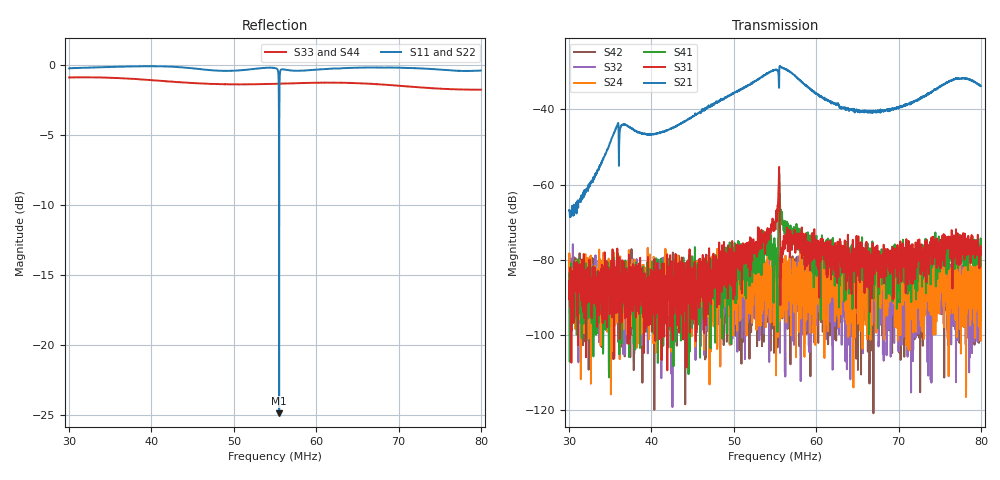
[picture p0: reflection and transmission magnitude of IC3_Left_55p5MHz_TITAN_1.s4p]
#  HZ  S  DB  R  50.00
! Rohde & Schwarz Vector Network Analyzer
! Rohde-Schwarz,ZNB8-4Port,1311601044102961,2.82
! Created: UTC 2/8/2019, 4:11:41 PM
! freq[Hz]  db:S11  ang:S11  db:S12  ang:S12  db:S13  ang:S13  db:S14  ang:S14
!  db:S21  ang:S21  db:S22  ang:S22  db:S23  ang:S23  db:S24  ang:S24
!  db:S31  ang:S31  db:S32  ang:S32  db:S33  ang:S33  db:S34  ang:S34
!  db:S41  ang:S41  db:S42  ang:S42  db:S43  ang:S43  db:S44  ang:S44
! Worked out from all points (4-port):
!   2001 points, 30 MHz to 80 MHz, reference 50 ohm
!   strongest paths, dB at 30 MHz, 42.5 MHz, 55 MHz, 67.5 MHz, 80 MHz:
!     S21: -66.8, -45.0, -29.5, -40.2, -33.8
!     S31: -90.5, -88.0, -70.7, -78.2, -76.3
!     S41: -83.6, -90.7, -80.3, -98.2, -81.5
!     S24: -86.0, -86.6, -85.5, -88.1, -82.1
!     S32: -85.2, -90.1, -82.9, -90.7, -85.7
!     S42: -85.2, -91.8, -87.7, -85.4, -88.8
!   lowest |S11| = -24.9 dB at 55.5 MHz (marker M1), VSWR 1.12, Z = 46.7 + j4.37 ohm
!   |S11| at or under -10 dB: 55.48252 MHz to 55.51784 MHz (35.32 kHz wide, 0.0636 % of centre)
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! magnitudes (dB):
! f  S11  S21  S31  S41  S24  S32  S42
! 30 MHz  -0.2  -66.8  -90.5  -83.6  -86.0  -85.2  -85.2
! 35.75 MHz  -0.1  -44.8  -94.1  -83.0  -86.9  -87.3  -93.0
! 55.1 MHz  -0.2  -29.4  -69.2  -77.3  -80.9  -84.7  -87.8
! 55.5 MHz  -24.9  -34.3  -55.3  -56.9  -81.4  -86.8  -101.8
! 55.9 MHz  -0.3  -28.9  -78.2  -69.4  -81.8  -92.4  -85.0
! 65.3 MHz  -0.2  -40.4  -80.6  -81.5  -76.9  -87.0  -83.6
! 80 MHz  -0.4  -33.8  -76.3  -81.5  -82.1  -85.7  -88.8
